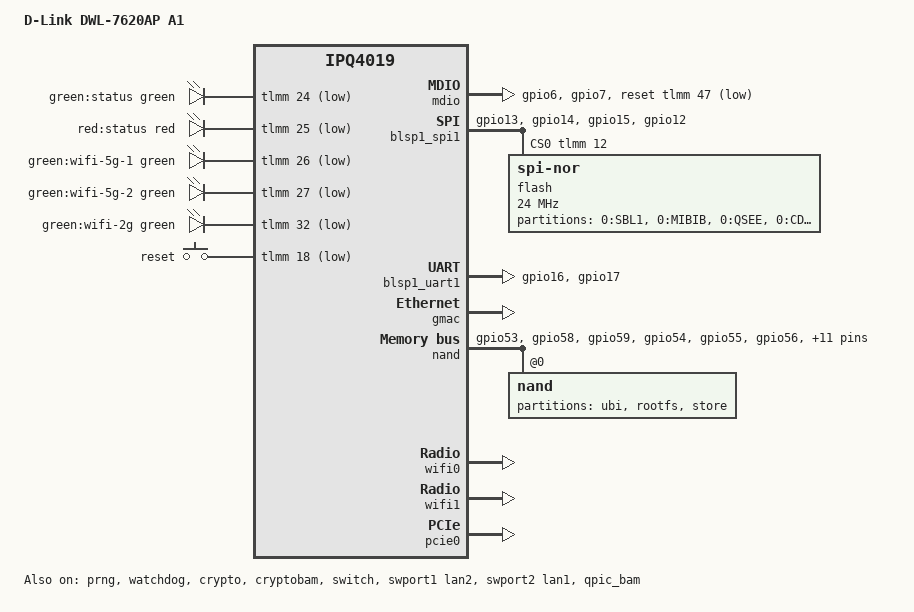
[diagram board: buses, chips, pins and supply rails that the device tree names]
// SPDX-License-Identifier: GPL-2.0-or-later OR MIT
// Copyright (c) 2022, Pawel Dembicki <paweldembicki@gmail.com>.
// Copyright (c) 2022, Giammarco Marzano <stich86@gmail.com>.

#include "qcom-ipq4019.dtsi"
#include <dt-bindings/soc/qcom,tcsr.h>
#include <dt-bindings/gpio/gpio.h>
#include <dt-bindings/input/input.h>
#include <dt-bindings/leds/common.h>

/ {
	model = "D-Link DWL-7620AP A1";
	compatible = "dlink,dwl-7620ap-a1";

	aliases {
		led-boot = &led_status_green;
		led-failsafe = &led_status_red;
		led-running = &led_status_green;
		led-upgrade = &led_status_red;
	};
/*
	chosen {
		bootargs-append = " root=/dev/ubiblock0_1";
	};
*/
	leds {
		compatible = "gpio-leds";

		led_status_green: status_green {
			label = "green:status";
			function = LED_FUNCTION_POWER;
			color = <LED_COLOR_ID_GREEN>;
			gpios = <&tlmm 24 GPIO_ACTIVE_LOW>;
			default-state = "on";
		};

		led_status_red: status_red {
			label = "red:status";
			function = LED_FUNCTION_POWER;
			color = <LED_COLOR_ID_RED>;
			gpios = <&tlmm 25 GPIO_ACTIVE_LOW>;
		};

		wifi-5g-1 {
			label = "green:wifi-5g-1";
			function = LED_FUNCTION_WLAN_5GHZ;
			color = <LED_COLOR_ID_GREEN>;
			gpios = <&tlmm 26 GPIO_ACTIVE_LOW>;
			linux,default-trigger = "phy2tpt";
		};

		wifi-5g-2 {
			label = "green:wifi-5g-2";
			function = LED_FUNCTION_WLAN_5GHZ;
			color = <LED_COLOR_ID_GREEN>;
			gpios = <&tlmm 27 GPIO_ACTIVE_LOW>;
			linux,default-trigger = "phy0tpt";
		};

		wifi-2g {
			label = "green:wifi-2g";
			function = LED_FUNCTION_WLAN_2GHZ;
			color = <LED_COLOR_ID_GREEN>;
			gpios = <&tlmm 32 GPIO_ACTIVE_LOW>;
			linux,default-trigger = "phy1tpt";
		};
	};

	keys {
		compatible = "gpio-keys";

		reset {
			label = "reset";
			linux,code = <KEY_RESTART>;
			gpios = <&tlmm 18 GPIO_ACTIVE_LOW>;
		};
	};

	soc {
		tcsr@1949000 {
			compatible = "qcom,tcsr";
			reg = <0x1949000 0x100>;
			qcom,wifi_glb_cfg = <TCSR_WIFI_GLB_CFG>;
		};
/*
		tcsr@194b000 {
			... select hostmode
			compatible = "qcom,tcsr";
			reg = <0x194b000 0x100>;
			qcom,usb-hsphy-mode-select = <TCSR_USB_HSPHY_HOST_MODE>;
			status = "okay";
		};
*/
		ess_tcsr@1953000 {
			compatible = "qcom,tcsr";
			reg = <0x1953000 0x1000>;
			qcom,ess-interface-select = <TCSR_ESS_PSGMII>;
		};

		tcsr@1957000 {
			compatible = "qcom,tcsr";
			reg = <0x1957000 0x100>;
			qcom,wifi_noc_memtype_m0_m2 = <TCSR_WIFI_NOC_MEMTYPE_M0_M2>;
		};
	};
};

&prng {
	status = "okay";
};

&mdio {
	status = "okay";
	pinctrl-0 = <&mdio_pins>;
	pinctrl-names = "default";
	reset-gpios = <&tlmm 47 GPIO_ACTIVE_LOW>;
	reset-delay-us = <2000>;
};

&watchdog {
	status = "okay";
};

&blsp_dma {
	status = "okay";
};

&blsp1_spi1 {
	pinctrl-0 = <&spi_0_pins>;
	pinctrl-names = "default";
	status = "okay";
	cs-gpios = <&tlmm 12 GPIO_ACTIVE_HIGH>;

	flash@0 {
		compatible = "jedec,spi-nor";
		#address-cells = <1>;
		#size-cells = <1>;
		reg = <0>;
		spi-max-frequency = <24000000>;

		partitions {
			compatible = "fixed-partitions";
			#address-cells = <1>;
			#size-cells = <1>;

			partition@0 {
				label = "0:SBL1";
				reg = <0x0 0x40000>;
				read-only;
			};

			partition@40000 {
				label = "0:MIBIB";
				reg = <0x40000 0x20000>;
				read-only;
			};

			partition@60000 {
				label = "0:QSEE";
				reg = <0x60000 0x60000>;
				read-only;
			};

			partition@c0000 {
				label = "0:CDT";
				reg = <0xc0000 0x10000>;
				read-only;
			};

			partition@d0000 {
				label = "0:DDRPARAMS";
				reg = <0xd0000 0x10000>;
				read-only;
			};

			partition@e0000 {
				label = "0:APPSBLENV";
				reg = <0xe0000 0x10000>;
				read-only;
			};

			partition@f0000 {
				label = "0:APPSBL";
				reg = <0xf0000 0x80000>;
				read-only;
			};

			art: partition@170000 {
				label = "0_ART";
				reg = <0x170000 0x10000>;
				read-only;

				compatible = "nvmem-cells";
				#address-cells = <1>;
				#size-cells = <1>;

				precal_art_1000: precal@1000 {
					reg = <0x1000 0x2f20>;
				};

				precal_art_5000: precal@5000 {
					reg = <0x5000 0x2f20>;
				};
			};

			partition@180000 {
				label = "flash";
				reg = <0x180000 0x20000>;
				read-only;
			};
		};
	};
};

&blsp1_uart1 {
	pinctrl-0 = <&serial_pins>;
	pinctrl-names = "default";
	status = "okay";
};

&crypto {
	status = "okay";
};

&cryptobam {
	status = "okay";
};

&gmac {
	status = "okay";
};

&switch {
	status = "okay";
};

&swport1 {
	status = "okay";
	label = "lan2";
};

&swport2 {
	status = "okay";
	label = "lan1";
};

&qpic_bam {
	status = "okay";
};

&tlmm {
	nand_pins: nand_pins {
		pullups {
			pins = "gpio53", "gpio58", "gpio59";
			function = "qpic";
			bias-pull-up;
		};

		pulldowns {
			pins = "gpio54", "gpio55", "gpio56",
				"gpio57", "gpio60", "gpio61",
				"gpio62", "gpio63", "gpio64",
				"gpio65", "gpio66", "gpio67",
				"gpio68", "gpio69";
			function = "qpic";
			bias-pull-down;
		};
	};

	mdio_pins: mdio_pinmux {
		mux_1 {
			pins = "gpio6";
			function = "mdio";
			bias-pull-up;
		};

		mux_2 {
			pins = "gpio7";
			function = "mdc";
			bias-pull-up;
		};
	};

	serial_pins: serial_pinmux {
		mux {
			pins = "gpio16", "gpio17";
			function = "blsp_uart0";
			bias-disable;
		};
	};

	spi_0_pins: spi_0_pinmux {
		pinmux {
			function = "blsp_spi0";
			pins = "gpio13", "gpio14", "gpio15";
			drive-strength = <12>;
			bias-disable;
		};

		pinmux_cs {
			function = "gpio";
			pins = "gpio12";
			drive-strength = <2>;
			bias-disable;
			output-high;
		};
	};
};

&nand {
	pinctrl-0 = <&nand_pins>;
	pinctrl-names = "default";
	status = "okay";

	nand@0 {
		partitions {
			compatible = "fixed-partitions";
			#address-cells = <1>;
			#size-cells = <1>;

			partition@0 {
				label = "ubi";
				reg = <0x00000000 0x2000000>;
			};

			partition@2000000 {
				label = "rootfs";
				reg = <0x02000000 0x2000000>;
			};

			partition@4000000 {
				label = "store";
				reg = <0x04000000 0x4000000>;
				read-only;
			};
		};
	};
};

&wifi0 {
	status = "okay";
	nvmem-cell-names = "pre-calibration";
	nvmem-cells = <&precal_art_1000>;
	mac-address-increment = <2>;
/*
	qcom,ath10k-calibration-variant = "zte,mf289f";
*/
};

/* This node is used only on AT2 version for 5Ghz on IPQ4019 with board-id=21 */
&wifi1 {
	status = "okay";
	nvmem-cell-names = "pre-calibration";
	nvmem-cells = <&precal_art_5000>;
	mac-address-increment = <3>;
/*
	qcom,ath10k-calibration-variant = "zte,mf289f";
*/
};

/* This node is used only on AT1 version for 5Ghz on QCA9984 */
&pcie0 {
	status = "okay";
	perst-gpio = <&tlmm 38 GPIO_ACTIVE_LOW>;
	wake-gpio = <&tlmm 40 GPIO_ACTIVE_LOW>;
	clkreq-gpio = <&tlmm 39 GPIO_ACTIVE_LOW>;

	bridge@0,0 {
		reg = <0x00000000 0 0 0 0>;
		#address-cells = <3>;
		#size-cells = <2>;
		ranges;
	};
};
